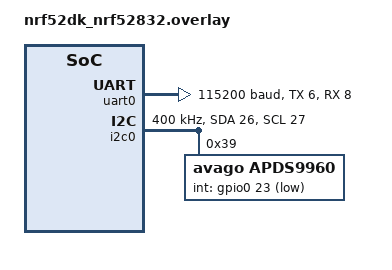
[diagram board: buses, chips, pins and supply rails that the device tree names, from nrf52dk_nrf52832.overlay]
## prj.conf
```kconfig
CONFIG_PRINTK=y
CONFIG_GPIO=y
CONFIG_I2C=y
CONFIG_SENSOR=y

CONFIG_LOG=y
CONFIG_SENSOR_LOG_LEVEL_INF=y
CONFIG_I2C_LOG_LEVEL_INF=y

CONFIG_APDS9960=y
CONFIG_APDS9960_TRIGGER_GLOBAL_THREAD=n
CONFIG_DEVICE_POWER_MANAGEMENT=n

CONFIG_DEBUG_OPTIMIZATIONS=y

# Segger RTT
CONFIG_USE_SEGGER_RTT=n
CONFIG_RTT_CONSOLE=n
CONFIG_UART_CONSOLE=y
CONFIG_LOG_BACKEND_RTT=n
CONFIG_LOG_BACKEND_UART=y
```

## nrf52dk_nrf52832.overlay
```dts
&gpiote {
	status = "okay";
};

&gpio0 {
	status = "okay";
};

&uart0 {
	compatible = "nordic,nrf-uart";
	current-speed = <115200>;
	status = "okay";
	tx-pin = <6>;
	rx-pin = <8>;
};

arduino_i2c: &i2c0 {
	compatible = "nordic,nrf-twim";
	status = "okay";
	clock-frequency = <I2C_BITRATE_FAST>;
	sda-pin = <26>;
	scl-pin = <27>;

	apds9960@39 {
		compatible = "avago,apds9960";
		reg = <0x39>;
		label = "APDS9960";
		int-gpios = <&gpio0 23 (GPIO_ACTIVE_LOW | GPIO_PULL_UP)>;
	};
};
```

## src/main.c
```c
/*
 * Copyright (c) 2017 Intel Corporation
 * Copyright (c) 2018 Phytec Messtechnik GmbH
 *
 * SPDX-License-Identifier: Apache-2.0
 */

#include <zephyr.h>
#include <drivers/sensor.h>
#include <device.h>
#include <stdio.h>
#include <sys/printk.h>

#ifdef CONFIG_APDS9960_TRIGGER
K_SEM_DEFINE(sem, 0, 1);

static void trigger_handler(struct device *dev, struct sensor_trigger *trigger)
{
	ARG_UNUSED(dev);
	ARG_UNUSED(trigger);

	k_sem_give(&sem);
}
#endif

void main(void)
{
	struct device *dev;
	struct sensor_value intensity, pdata;

	printk("APDS9960 sample application\n");
	dev = device_get_binding(DT_LABEL(DT_INST(0, avago_apds9960)));
	if (!dev) {
		printk("sensor: device not found.\n");
		return;
	}

#ifdef CONFIG_APDS9960_TRIGGER
	struct sensor_value attr = {
		.val1 = 127,
		.val2 = 0,
	};

	if (sensor_attr_set(dev, SENSOR_CHAN_PROX,
			    SENSOR_ATTR_UPPER_THRESH, &attr)) {
		printk("Could not set threshold\n");
		return;
	}

	struct sensor_trigger trig = {
		.type = SENSOR_TRIG_THRESHOLD,
		.chan = SENSOR_CHAN_PROX,
	};

	if (sensor_trigger_set(dev, &trig, trigger_handler)) {
		printk("Could not set trigger\n");
		return;
	}
#endif

	while (true) {
#ifdef CONFIG_APDS9960_TRIGGER
		printk("Waiting for a threshold event\n");
		k_sem_take(&sem, K_FOREVER);
#else
		k_sleep(K_MSEC(500));
#endif
		if (sensor_sample_fetch(dev)) {
			printk("sensor_sample fetch failed\n");
		}

		sensor_channel_get(dev, SENSOR_CHAN_LIGHT, &intensity);
		sensor_channel_get(dev, SENSOR_CHAN_PROX, &pdata);

		printk("ambient light intensity %d, proximity %d\n",
		       intensity.val1, pdata.val1);

#ifdef CONFIG_DEVICE_POWER_MANAGEMENT
		uint32_t p_state;

		p_state = DEVICE_PM_LOW_POWER_STATE;
		device_set_power_state(dev, p_state, NULL, NULL);
		printk("set low power state for 200ms\n");
		k_sleep(K_MSEC(200));
		p_state = DEVICE_PM_ACTIVE_STATE;
		device_set_power_state(dev, p_state, NULL, NULL);
#endif
	}
}
```
